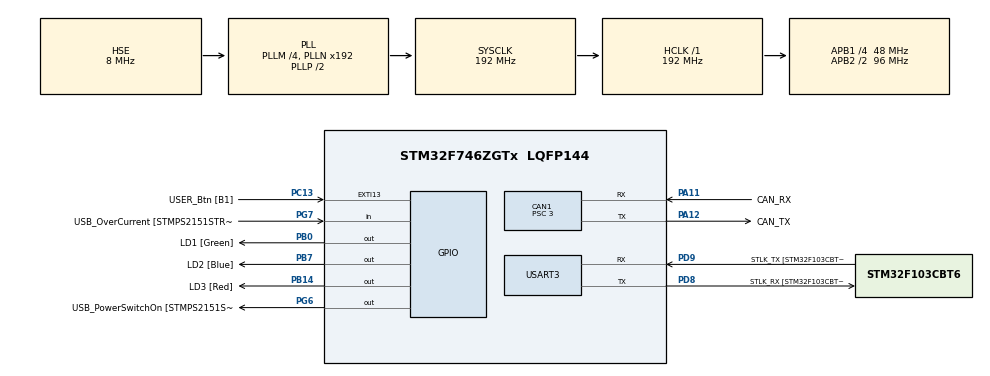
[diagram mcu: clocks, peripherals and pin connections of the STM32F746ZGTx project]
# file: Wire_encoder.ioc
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CAN1.ABOM=ENABLE
CAN1.BS1=CAN_BS1_13TQ
CAN1.BS2=CAN_BS2_2TQ
CAN1.CalculateBaudRate=1000000
CAN1.CalculateTimeBit=1000
CAN1.CalculateTimeQuantum=62.5
CAN1.Mode=CAN_MODE_NORMAL
CAN1.NART=ENABLE
CAN1.Prescaler=3
Mcu.Family=STM32F7
Mcu.Name=STM32F746ZGTx
Mcu.Package=LQFP144
NVIC.CAN1_RX0_IRQn=true\:0\:0\:false\:false\:true\:true\:true\:true
NVIC.PriorityGroup=NVIC_PRIORITYGROUP_4
PA1.GPIO_Label=RMII_REF_CLK [LAN8742A-CZ-TR_REFCLK0]
PA1.Signal=ETH_REF_CLK
PA10.GPIO_Label=USB_ID
PA10.Signal=USB_OTG_FS_ID
PA11.GPIO_Label=CAN_RX
PA11.Mode=CAN_Activate
PA11.Signal=CAN1_RX
PA12.GPIO_Label=CAN_TX
PA12.Mode=CAN_Activate
PA12.Signal=CAN1_TX
PA13.GPIO_Label=TMS
PA13.Mode=Serial_Wire
PA13.Signal=SYS_JTMS-SWDIO
PA14.GPIO_Label=TCK
PA14.Mode=Serial_Wire
PA14.Signal=SYS_JTCK-SWCLK
PA2.GPIO_Label=RMII_MDIO [LAN8742A-CZ-TR_MDIO]
PA2.Signal=ETH_MDIO
PA7.GPIO_Label=RMII_CRS_DV [LAN8742A-CZ-TR_CRS_DV]
PA7.Signal=ETH_CRS_DV
PA8.GPIO_Label=USB_SOF [TP1]
PA8.Signal=USB_OTG_FS_SOF
PA9.GPIO_Label=USB_VBUS
PA9.Signal=USB_OTG_FS_VBUS
PB0.GPIO_Label=LD1 [Green]
PB0.Signal=GPIO_Output
PB13.GPIO_Label=RMII_TXD1 [LAN8742A-CZ-TR_TXD1]
PB13.Signal=ETH_TXD1
PB14.GPIO_Label=LD3 [Red]
PB14.Signal=GPIO_Output
PB3.GPIO_Label=SW0
PB3.Signal=SYS_JTDO-SWO
PB7.GPIO_Label=LD2 [Blue]
PB7.Signal=GPIO_Output
PB8.Signal=I2C1_SCL
PB9.Signal=I2C1_SDA
PC1.GPIO_Label=RMII_MDC [LAN8742A-CZ-TR_MDC]
PC1.Signal=ETH_MDC
PC13.GPIO_Label=USER_Btn [B1]
PC13.Signal=GPXTI13
PC14/OSC32_IN.Mode=LSE-External-Oscillator
PC14/OSC32_IN.Signal=RCC_OSC32_IN
PC15/OSC32_OUT.Mode=LSE-External-Oscillator
PC15/OSC32_OUT.Signal=RCC_OSC32_OUT
PC4.GPIO_Label=RMII_RXD0 [LAN8742A-CZ-TR_RXD0]
PC4.Signal=ETH_RXD0
PC5.GPIO_Label=RMII_RXD1 [LAN8742A-CZ-TR_RXD1]
PC5.Signal=ETH_RXD1
PD8.GPIO_Label=STLK_RX [STM32F103CBT6_PA3]
PD8.GPIO_PuPd=GPIO_PULLUP
PD8.Mode=Asynchronous
PD8.Signal=USART3_TX
PD9.GPIO_Label=STLK_TX [STM32F103CBT6_PA2]
PD9.GPIO_PuPd=GPIO_PULLUP
PD9.Mode=Asynchronous
PD9.Signal=USART3_RX
PG11.GPIO_Label=RMII_TX_EN [LAN8742A-CZ-TR_TXEN]
PG11.Signal=ETH_TX_EN
PG13.GPIO_Label=RMII_TXD0 [LAN8742A-CZ-TR_TXD0]
PG13.Signal=ETH_TXD0
PG6.GPIO_Label=USB_PowerSwitchOn [STMPS2151STR_EN]
PG6.Signal=GPIO_Output
PG7.GPIO_Label=USB_OverCurrent [STMPS2151STR_FAULT]
PG7.Signal=GPIO_Input
PH0/OSC_IN.GPIO_Label=MCO [STM32F103CBT6_PA8]
PH0/OSC_IN.Mode=HSE-External-Oscillator
PH0/OSC_IN.Signal=RCC_OSC_IN
PH1/OSC_OUT.Mode=HSE-External-Oscillator
PH1/OSC_OUT.Signal=RCC_OSC_OUT
ProjectManager.HeapSize=0x200
ProjectManager.StackSize=0x400
ProjectManager.TargetToolchain=STM32CubeIDE
RCC.48MHZClocksFreq_Value=24000000
RCC.AHBFreq_Value=192000000
RCC.APB1CLKDivider=RCC_HCLK_DIV4
RCC.APB1Freq_Value=48000000
RCC.APB1TimFreq_Value=96000000
RCC.APB2CLKDivider=RCC_HCLK_DIV2
RCC.APB2Freq_Value=96000000
RCC.APB2TimFreq_Value=192000000
RCC.CortexFreq_Value=192000000
RCC.HCLKFreq_Value=192000000
RCC.HSE_VALUE=8000000
RCC.HSI_VALUE=16000000
RCC.PLLM=4
RCC.PLLMUL=RCC_PLL_MUL9
RCC.PLLQ=3
RCC.PLLSourceVirtual=RCC_PLLSOURCE_HSE
RCC.PRESCALERUSB=RCC_USBCLKSOURCE_PLL_DIV1_5
RCC.SYSCLKFreq_VALUE=192000000
RCC.SYSCLKSource=RCC_SYSCLKSOURCE_PLLCLK
RCC.SYSCLKSourceVirtual=RCC_SYSCLKSOURCE_PLLCLK
RCC.USBFreq_Value=128000000
RCC.VCOOutputFreq_Value=384000000
USART3.VirtualMode-Asynchronous=VM_ASYNC
board=NUCLEO-F746ZG

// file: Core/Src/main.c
/* USER CODE BEGIN Header */
/**
  ******************************************************************************
  * @file           : main.c
  * @brief          : Main program body
  ******************************************************************************
  * @attention
  *
  * Copyright (c) 2026 STMicroelectronics.
  * All rights reserved.
  *
  * This software is licensed under terms that can be found in the LICENSE file
  * in the root directory of this software component.
  * If no LICENSE file comes with this software, it is provided AS-IS.
  *
  ******************************************************************************
  */
/* USER CODE END Header */
#include "main.h"

/* USER CODE BEGIN Includes */
#include <stdio.h>
#include "WEncoder_CAN.h"
/* USER CODE END Includes */

CAN_HandleTypeDef hcan1;

UART_HandleTypeDef huart3;

/* USER CODE BEGIN PV */
/* Encoder тохиргоо — хэрэгцээгээрээ өөрчил */
#define ENCODER_ID           0x02U
#define RESOLUTION_MM        0.0244f
#define TOTAL_COUNTS         98300
#define MAX_STEP_COUNTS      5000

#define UART_LOG_ENABLE      1U
#define PRINT_INTERVAL_MS    50U

#if UART_LOG_ENABLE
static uint32_t lastPrintAt = 0U;
#endif
/* USER CODE END PV */

void SystemClock_Config(void);
static void MX_GPIO_Init(void);
static void MX_USART3_UART_Init(void);
static void MX_CAN1_Init(void);

/* USER CODE BEGIN 0 */
int __io_putchar(int ch)
{
#if UART_LOG_ENABLE
    uint8_t c = (uint8_t)ch;
    (void)HAL_UART_Transmit(&huart3, &c, 1U, 2U);
#else
    (void)ch;
#endif
    return ch;
}

void HAL_CAN_RxFifo0MsgPendingCallback(CAN_HandleTypeDef *hcan)
{
    /* WEncoder_CAN_RxCallback нь STD frame-ийг өөрөө шүүж авна.
     * 0 буцаавал энэ frame нь encoder-ийнх биш (EXT эсвэл өөр ID) —
     * тухайн frame-ийг хэрэглэгчийн код үргэлжлүүлэн боловсруулж болно. */
    (void)WEncoder_CAN_RxCallback(hcan);
}

void HAL_CAN_ErrorCallback(CAN_HandleTypeDef *hcan)
{
    if (hcan->Instance != CAN1) return;

#if UART_LOG_ENABLE
    static uint32_t lastErrAt = 0U;
    uint32_t now = HAL_GetTick();
    if ((now - lastErrAt) >= 1000U) {
        uint32_t err = HAL_CAN_GetError(hcan);
        uint32_t esr = CAN1->ESR;
        printf("CAN err=0x%08lX LEC=%lu TEC=%lu REC=%lu\r\n",
               (unsigned long)err,
               (unsigned long)((esr & CAN_ESR_LEC_Msk) >> CAN_ESR_LEC_Pos),
               (unsigned long)((esr & CAN_ESR_TEC_Msk) >> CAN_ESR_TEC_Pos),
               (unsigned long)((esr & CAN_ESR_REC_Msk) >> CAN_ESR_REC_Pos));
        lastErrAt = now;
    }
#endif

    /* Bus-off → автоматаар restart */
    uint32_t esr = CAN1->ESR;
    if ((esr & CAN_ESR_BOFF) != 0U) {
        (void)HAL_CAN_Stop(hcan);
        (void)HAL_CAN_Start(hcan);
    }
}
/* USER CODE END 0 */

int main(void)
{

  /* MCU Configuration -------------------------------------------------------*/
  HAL_Init();

  SystemClock_Config();

  MX_GPIO_Init();
  MX_USART3_UART_Init();
  MX_CAN1_Init();

  /* USER CODE BEGIN 2 */

  /* 1. Library init */
  WEncoder_CAN_Init(&hcan1);

  /* 2. Encoder(уудаа) бүртгэх — хэдэн ч болно */
  WEncoder_CAN_AddEncoder(ENCODER_ID, "Main",
                           TOTAL_COUNTS, RESOLUTION_MM, MAX_STEP_COUNTS);

  /* 3. CAN filter, baud тохируулж start хийх */
  if (WEncoder_CAN_StartStack() != HAL_OK) {
      Error_Handler();
  }

#if UART_LOG_ENABLE
  printf("\r\nBOOT OK | baud=1M encoder_id=0x%02X\r\n", ENCODER_ID);
#endif

  /* USER CODE END 2 */

  /* Infinite loop */
  /* USER CODE BEGIN WHILE */
  while (1)
  {
      /* Poll: request илгээж, pending RX frame боловсруулна */
      WEncoder_CAN_Poll();

      /* Утга унших */
      WEnc_Reading_t r;
      if (WEncoder_CAN_GetByIndex(0U, &r) && r.valid)
      {
#if UART_LOG_ENABLE
          uint32_t now = HAL_GetTick();
          if ((now - lastPrintAt) >= PRINT_INTERVAL_MS) {
              printf("id=0x%02X | Raw: %6ld | Disp: %8.3f mm\r\n",
                     (unsigned int)r.can_id,
                     (long)r.raw,
                     (double)r.disp_mm);
              lastPrintAt = now;
          }
#endif
      }

      /* Timeout шалгах */
      if (WEncoder_CAN_IsTimeout(0U)) {
#if UART_LOG_ENABLE
          static uint32_t lastTimeoutAt = 0U;
          if ((HAL_GetTick() - lastTimeoutAt) >= 1000U) {
              printf("ENCODER TIMEOUT\r\n");
              lastTimeoutAt = HAL_GetTick();
          }
#endif
          HAL_GPIO_WritePin(LD3_GPIO_Port, LD3_Pin, GPIO_PIN_SET);   /* улаан LED */
      } else {
          HAL_GPIO_WritePin(LD1_GPIO_Port, LD1_Pin, GPIO_PIN_SET);   /* ногоон LED */
      }

    /* USER CODE END WHILE */

  }
}

void SystemClock_Config(void)
{
  RCC_OscInitTypeDef RCC_OscInitStruct = {0};
  RCC_ClkInitTypeDef RCC_ClkInitStruct = {0};

  HAL_PWR_EnableBkUpAccess();
  __HAL_RCC_PWR_CLK_ENABLE();
  __HAL_PWR_VOLTAGESCALING_CONFIG(PWR_REGULATOR_VOLTAGE_SCALE1);

  RCC_OscInitStruct.OscillatorType = RCC_OSCILLATORTYPE_HSE;
  RCC_OscInitStruct.HSEState       = RCC_HSE_ON;
  RCC_OscInitStruct.PLL.PLLState   = RCC_PLL_ON;
  RCC_OscInitStruct.PLL.PLLSource  = RCC_PLLSOURCE_HSE;
  RCC_OscInitStruct.PLL.PLLM       = 4;
  RCC_OscInitStruct.PLL.PLLN       = 192;
  RCC_OscInitStruct.PLL.PLLP       = RCC_PLLP_DIV2;
  RCC_OscInitStruct.PLL.PLLQ       = 3;
  if (HAL_RCC_OscConfig(&RCC_OscInitStruct) != HAL_OK) { Error_Handler(); }

  if (HAL_PWREx_EnableOverDrive() != HAL_OK) { Error_Handler(); }

  RCC_ClkInitStruct.ClockType      = RCC_CLOCKTYPE_HCLK | RCC_CLOCKTYPE_SYSCLK
                                   | RCC_CLOCKTYPE_PCLK1 | RCC_CLOCKTYPE_PCLK2;
  RCC_ClkInitStruct.SYSCLKSource   = RCC_SYSCLKSOURCE_PLLCLK;
  RCC_ClkInitStruct.AHBCLKDivider  = RCC_SYSCLK_DIV1;
  RCC_ClkInitStruct.APB1CLKDivider = RCC_HCLK_DIV4;
  RCC_ClkInitStruct.APB2CLKDivider = RCC_HCLK_DIV2;
  if (HAL_RCC_ClockConfig(&RCC_ClkInitStruct, FLASH_LATENCY_6) != HAL_OK) { Error_Handler(); }
}

static void MX_CAN1_Init(void)
{

  hcan1.Instance                = CAN1;
  hcan1.Init.Prescaler          = 3;           /* 1M — WEncoder_CAN_StartStack дахин тохируулна */
  hcan1.Init.Mode               = CAN_MODE_NORMAL;
  hcan1.Init.SyncJumpWidth      = CAN_SJW_1TQ;
  hcan1.Init.TimeSeg1           = CAN_BS1_13TQ;
  hcan1.Init.TimeSeg2           = CAN_BS2_2TQ;
  hcan1.Init.TimeTriggeredMode  = DISABLE;
  hcan1.Init.AutoBusOff         = ENABLE;
  hcan1.Init.AutoWakeUp         = DISABLE;
  hcan1.Init.AutoRetransmission = ENABLE;
  hcan1.Init.ReceiveFifoLocked  = DISABLE;
  hcan1.Init.TransmitFifoPriority = DISABLE;
  if (HAL_CAN_Init(&hcan1) != HAL_OK) { Error_Handler(); }

  /* USER CODE BEGIN CAN1_Init 2 */
  /* Filter + start нь WEncoder_CAN_StartStack()-д хийгдэнэ */
  /* USER CODE END CAN1_Init 2 */
}

static void MX_USART3_UART_Init(void)
{

  huart3.Instance            = USART3;
  huart3.Init.BaudRate       = 115200;
  huart3.Init.WordLength     = UART_WORDLENGTH_8B;
  huart3.Init.StopBits       = UART_STOPBITS_1;
  huart3.Init.Parity         = UART_PARITY_NONE;
  huart3.Init.Mode           = UART_MODE_TX_RX;
  huart3.Init.HwFlowCtl      = UART_HWCONTROL_NONE;
  huart3.Init.OverSampling   = UART_OVERSAMPLING_16;
  huart3.Init.OneBitSampling = UART_ONE_BIT_SAMPLE_DISABLE;
  huart3.AdvancedInit.AdvFeatureInit = UART_ADVFEATURE_NO_INIT;
  if (HAL_UART_Init(&huart3) != HAL_OK) { Error_Handler(); }
}

static void MX_GPIO_Init(void)
{
  GPIO_InitTypeDef GPIO_InitStruct = {0};

  __HAL_RCC_GPIOC_CLK_ENABLE();
  __HAL_RCC_GPIOH_CLK_ENABLE();
  __HAL_RCC_GPIOA_CLK_ENABLE();
  __HAL_RCC_GPIOB_CLK_ENABLE();
  __HAL_RCC_GPIOD_CLK_ENABLE();
  __HAL_RCC_GPIOG_CLK_ENABLE();

  HAL_GPIO_WritePin(GPIOB, LD1_Pin | LD3_Pin | LD2_Pin, GPIO_PIN_RESET);
  HAL_GPIO_WritePin(USB_PowerSwitchOn_GPIO_Port, USB_PowerSwitchOn_Pin, GPIO_PIN_RESET);

  GPIO_InitStruct.Pin  = USER_Btn_Pin;
  GPIO_InitStruct.Mode = GPIO_MODE_IT_RISING;
  GPIO_InitStruct.Pull = GPIO_NOPULL;
  HAL_GPIO_Init(USER_Btn_GPIO_Port, &GPIO_InitStruct);

  GPIO_InitStruct.Pin       = RMII_MDC_Pin | RMII_RXD0_Pin | RMII_RXD1_Pin;
  GPIO_InitStruct.Mode      = GPIO_MODE_AF_PP;
  GPIO_InitStruct.Pull      = GPIO_NOPULL;
  GPIO_InitStruct.Speed     = GPIO_SPEED_FREQ_VERY_HIGH;
  GPIO_InitStruct.Alternate = GPIO_AF11_ETH;
  HAL_GPIO_Init(GPIOC, &GPIO_InitStruct);

  GPIO_InitStruct.Pin       = RMII_REF_CLK_Pin | RMII_MDIO_Pin | RMII_CRS_DV_Pin;
  GPIO_InitStruct.Alternate = GPIO_AF11_ETH;
  HAL_GPIO_Init(GPIOA, &GPIO_InitStruct);

  GPIO_InitStruct.Pin   = LD1_Pin | LD3_Pin | LD2_Pin;
  GPIO_InitStruct.Mode  = GPIO_MODE_OUTPUT_PP;
  GPIO_InitStruct.Pull  = GPIO_NOPULL;
  GPIO_InitStruct.Speed = GPIO_SPEED_FREQ_LOW;
  HAL_GPIO_Init(GPIOB, &GPIO_InitStruct);

  GPIO_InitStruct.Pin       = RMII_TXD1_Pin;
  GPIO_InitStruct.Mode      = GPIO_MODE_AF_PP;
  GPIO_InitStruct.Speed     = GPIO_SPEED_FREQ_VERY_HIGH;
  GPIO_InitStruct.Alternate = GPIO_AF11_ETH;
  HAL_GPIO_Init(RMII_TXD1_GPIO_Port, &GPIO_InitStruct);

  GPIO_InitStruct.Pin   = USB_PowerSwitchOn_Pin;
  GPIO_InitStruct.Mode  = GPIO_MODE_OUTPUT_PP;
  GPIO_InitStruct.Pull  = GPIO_NOPULL;
  GPIO_InitStruct.Speed = GPIO_SPEED_FREQ_LOW;
  HAL_GPIO_Init(USB_PowerSwitchOn_GPIO_Port, &GPIO_InitStruct);

  GPIO_InitStruct.Pin  = USB_OverCurrent_Pin;
  GPIO_InitStruct.Mode = GPIO_MODE_INPUT;
  GPIO_InitStruct.Pull = GPIO_NOPULL;
  HAL_GPIO_Init(USB_OverCurrent_GPIO_Port, &GPIO_InitStruct);

  GPIO_InitStruct.Pin       = USB_SOF_Pin | USB_ID_Pin;
  GPIO_InitStruct.Mode      = GPIO_MODE_AF_PP;
  GPIO_InitStruct.Speed     = GPIO_SPEED_FREQ_VERY_HIGH;
  GPIO_InitStruct.Alternate = GPIO_AF10_OTG_FS;
  HAL_GPIO_Init(GPIOA, &GPIO_InitStruct);

  GPIO_InitStruct.Pin  = USB_VBUS_Pin;
  GPIO_InitStruct.Mode = GPIO_MODE_INPUT;
  GPIO_InitStruct.Pull = GPIO_NOPULL;
  HAL_GPIO_Init(USB_VBUS_GPIO_Port, &GPIO_InitStruct);

  GPIO_InitStruct.Pin       = RMII_TX_EN_Pin | RMII_TXD0_Pin;
  GPIO_InitStruct.Mode      = GPIO_MODE_AF_PP;
  GPIO_InitStruct.Speed     = GPIO_SPEED_FREQ_VERY_HIGH;
  GPIO_InitStruct.Alternate = GPIO_AF11_ETH;
  HAL_GPIO_Init(GPIOG, &GPIO_InitStruct);

  GPIO_InitStruct.Pin       = GPIO_PIN_8 | GPIO_PIN_9;
  GPIO_InitStruct.Mode      = GPIO_MODE_AF_OD;
  GPIO_InitStruct.Pull      = GPIO_NOPULL;
  GPIO_InitStruct.Speed     = GPIO_SPEED_FREQ_VERY_HIGH;
  GPIO_InitStruct.Alternate = GPIO_AF4_I2C1;
  HAL_GPIO_Init(GPIOB, &GPIO_InitStruct);

}

/**
  * @brief  Error handler
  */
void Error_Handler(void)
{
  __disable_irq();
  while (1) {}
}
